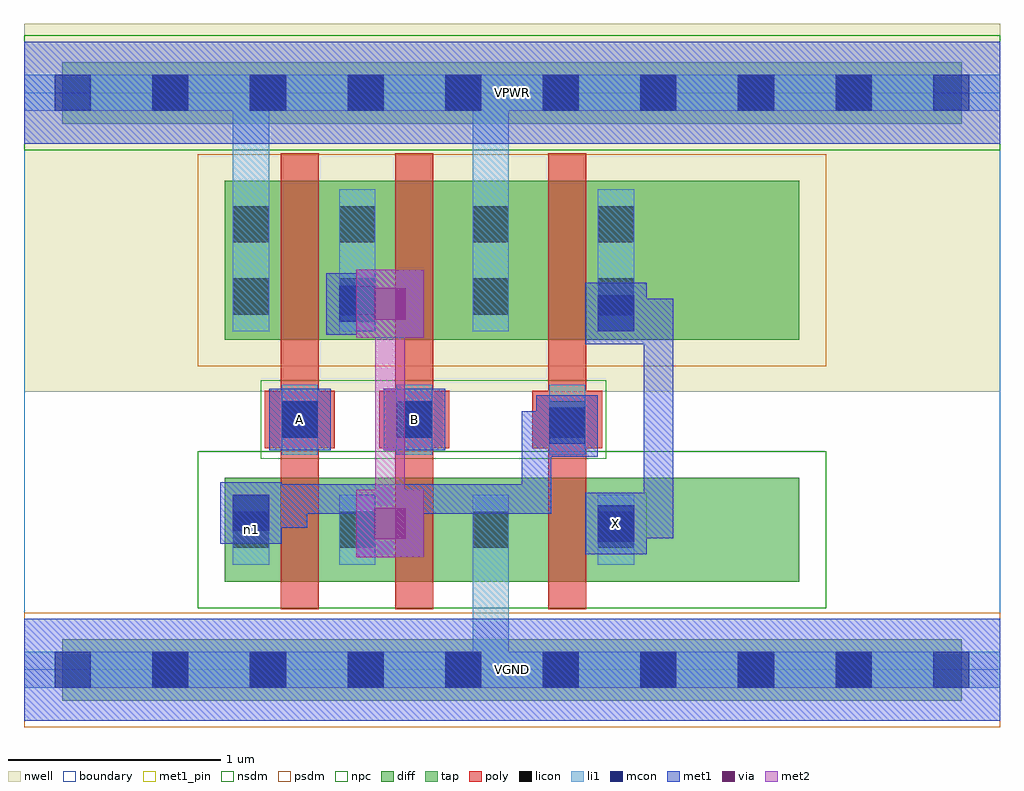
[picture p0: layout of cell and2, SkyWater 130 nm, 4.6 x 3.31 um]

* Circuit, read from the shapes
.subckt and2 A B VGND VPWR X n1
XM1 n2 A n1 VGND sky130_fd_pr__nfet_01v8 w=0.49 l=0.18
XM2 VGND B n2 VGND sky130_fd_pr__nfet_01v8 w=0.49 l=0.18
XM3 X n1 VGND VGND sky130_fd_pr__nfet_01v8 w=0.49 l=0.18
XM4 n1 A VPWR VPWR sky130_fd_pr__pfet_01v8 w=0.75 l=0.18
XM5 VPWR B n1 VPWR sky130_fd_pr__pfet_01v8 w=0.75 l=0.18
XM6 X n1 VPWR VPWR sky130_fd_pr__pfet_01v8 w=0.75 l=0.18
.ends

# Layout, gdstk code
import gdstk
lib = gdstk.Library(unit=1e-6, precision=1e-09)
def R(c, l, rs):  # rectangles x0, y0, x1, y1
    for r in rs: c.add(gdstk.rectangle(r[:2], r[2:], *l))
def A(c, l, x, y, w, h, nx, ny, dx, dy):  # array of equal rectangles
    R(c, l, [(x+i*dx, y+j*dy, x+i*dx+w, y+j*dy+h) for i in range(nx) for j in range(ny)])
nwell = (64, 20)
diff = (65, 20)
tap = (65, 44)
poly = (66, 20)
licon = (66, 44)
li1 = (67, 20)
mcon = (67, 44)
met1_pin = (68, 16)
met1 = (68, 20)
via = (68, 44)
met2 = (69, 20)
nsdm = (93, 44)
psdm = (94, 20)
npc = (95, 20)
boundary = (235, 4)

and2 = lib.new_cell('and2')
R(and2, nwell, [(0,1.31,4.6,3.045)])
R(and2, diff, [(0.945,0.415,3.655,0.905), (0.945,1.555,3.655,2.305)])
R(and2, tap, [(0.18,-0.145,4.42,0.145), (0.18,2.575,4.42,2.865)])
R(and2, poly, [(1.21,0.285,1.39,2.435), (1.75,0.285,1.93,2.435), (2.47,0.285,2.65,2.435), (1.135,1.045,1.465,1.315), (1.675,1.045,2.005,1.315), (2.395,1.045,2.725,1.315)])
A(and2, licon, 0.605, -0.085, 0.17, 0.17, 8, 2, 0.46, 2.72)
R(and2, licon, [(0.985,0.575,1.155,0.745), (1.485,0.575,1.655,0.745), (2.115,0.575,2.285,0.745), (2.705,0.575,2.875,0.745), (1.215,1.095,1.385,1.265), (1.755,1.095,1.925,1.265), (2.475,1.095,2.645,1.265), (0.985,1.675,1.155,1.845), (1.485,1.675,1.655,1.845), (2.115,1.675,2.285,1.845), (2.705,1.675,2.875,1.845), (0.985,2.015,1.155,2.185), (1.485,2.015,1.655,2.185), (2.115,2.015,2.285,2.185), (2.705,2.015,2.875,2.185)])
R(and2, li1, [(0,-0.085,4.6,0.085), (2.115,-0.085,2.285,0.825), (0.985,0.495,1.155,0.825), (1.485,0.495,1.655,0.825), (2.115,0.495,2.285,0.825), (2.705,0.495,2.875,0.825), (1.215,1.015,1.385,1.345), (1.755,1.015,1.925,1.345), (2.475,1.015,2.645,1.345), (0.985,1.595,1.155,2.265), (0.985,1.595,1.155,2.805), (1.485,1.595,1.655,2.265), (2.115,1.595,2.285,2.265), (2.115,1.595,2.285,2.805), (2.705,1.595,2.875,2.265), (0,2.635,4.6,2.805)])
A(and2, mcon, 0.145, -0.085, 0.17, 0.17, 10, 2, 0.46, 2.72)
R(and2, mcon, [(2.705,0.605,2.875,0.775), (0.985,0.655,1.155,0.825), (2.475,1.065,2.645,1.235), (1.215,1.095,1.385,1.265), (1.755,1.095,1.925,1.265), (2.705,1.595,2.875,1.765), (1.485,1.64,1.655,1.81)])
R(and2, met1_pin, [(0,-0.24,4.6,0.24), (2.645,0.545,2.935,0.835), (1.155,1.035,1.445,1.325), (1.695,1.035,1.985,1.325), (0,2.48,4.6,2.96)])
R(and2, met1, [(0,-0.24,4.6,0.24), (1.565,0.53,1.885,0.85), (2.645,0.545,2.935,0.835), (0.925,0.595,1.215,0.885), (1.655,0.62,1.795,0.875), (2.72,0.62,3.06,0.76), (2.92,0.62,3.06,1.565), (1,0.67,1.335,0.81), (1.195,0.67,1.335,0.875), (1.195,0.735,2.485,0.875), (2.345,0.735,2.485,1.22), (2.415,1.005,2.705,1.295), (1.155,1.035,1.445,1.325), (1.695,1.035,1.985,1.325), (2.345,1.08,2.63,1.22), (2.92,1.425,3.06,1.75), (2.645,1.535,2.935,1.825), (1.565,1.565,1.885,1.885), (1.425,1.58,1.715,1.87), (2.72,1.61,3.06,1.75), (1.5,1.655,1.795,1.795), (0,2.48,4.6,2.96)])
R(and2, via, [(1.65,0.615,1.8,0.765), (1.65,1.65,1.8,1.8)])
R(and2, met2, [(1.565,0.53,1.885,0.85), (1.655,0.62,1.795,1.795), (1.565,1.565,1.885,1.885)])
R(and2, nsdm, [(0.82,0.29,3.78,1.03), (0,2.45,4.6,2.99)])
R(and2, psdm, [(0,-0.27,4.6,0.27), (0.82,1.43,3.78,2.43)])
R(and2, npc, [(1.115,0.995,2.745,1.365)])
R(and2, boundary, [(0,0,4.6,2.72)])
and2.add(gdstk.Label('n1', (1.07,0.66), layer=67, texttype=5))
and2.add(gdstk.Label('A', (1.3,1.18), layer=68, texttype=5))
and2.add(gdstk.Label('B', (1.84,1.18), layer=68, texttype=5))
and2.add(gdstk.Label('X', (2.79,0.69), layer=68, texttype=5))
and2.add(gdstk.Label('VPWR', (2.3,2.72), layer=68, texttype=5))
and2.add(gdstk.Label('VGND', (2.3,0), layer=68, texttype=5))
and2.add(gdstk.Label('A', (1.3,1.18), layer=68, texttype=16))
and2.add(gdstk.Label('B', (1.84,1.18), layer=68, texttype=16))
and2.add(gdstk.Label('X', (2.79,0.69), layer=68, texttype=16))
and2.add(gdstk.Label('VPWR', (2.3,2.72), layer=68, texttype=16))
and2.add(gdstk.Label('VGND', (2.3,0), layer=68, texttype=16))

lib.write_gds('and2.gds')
